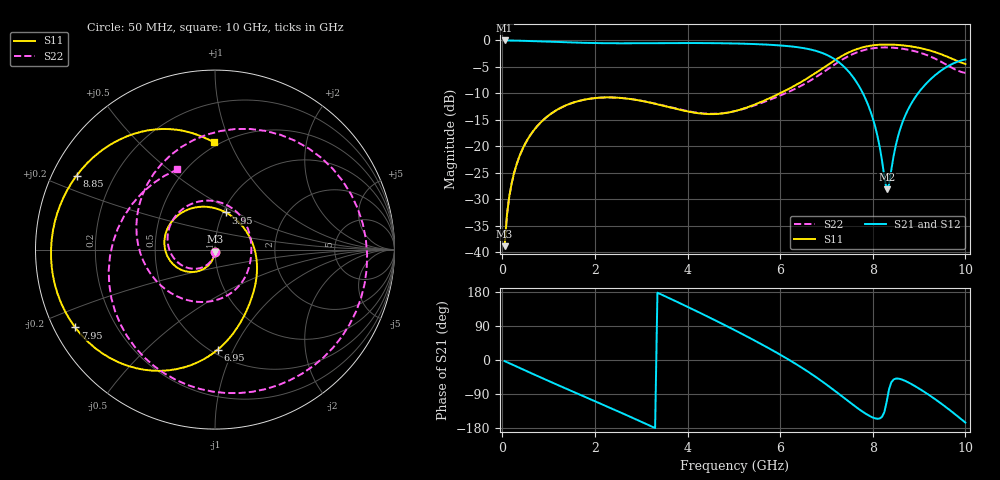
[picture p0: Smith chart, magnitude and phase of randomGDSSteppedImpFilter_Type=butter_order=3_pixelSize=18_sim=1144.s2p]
! freq	dB(S11)	phase(S11)	dB(S12)	phase(S12)
!  dB(S21)	phase(S21)	dB(S22)	phase(S22)
!S-par simulation data
#  GHz  S  DB  R 50
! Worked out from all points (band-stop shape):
!   200 points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, 50 MHz to 10 GHz, reference 50 ohm
!   highest |S21| = -0.01 dB at 50 MHz (marker M1); lowest = -28.2 dB at 8.3 GHz (marker M2)
!   |S21| within 3 dB of the highest: start of sweep to 7.069 GHz
!   lowest |S11| = -38.9 dB at 50 MHz (marker M3), VSWR 1.02, Z = 50 - j1.14 ohm
!   |S11| at or under -10 dB: start of sweep to 5.995 GHz
!   |S22| runs from -38.9 to -1.3 dB; largest |S21 - S12| = 0
!   S11 on the Smith chart (normalised r, x): 50 MHz: 1.00, -0.02; 3.95 GHz: 1.03, +0.45; 6.95 GHz: 0.54, -0.87; 7.95 GHz: 0.06, -0.26; 8.85 GHz: 0.07, +0.25; 10 GHz: 0.47, +0.88
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0.05  -38.88 -91.0  -0.01 -2.8  -0.01 -2.8  -38.89 -91.7
0.2  -27.11 -100.3  -0.03 -11.2  -0.03 -11.2  -27.11 -102.3
0.5  -19.44 -115.9  -0.09 -27.9  -0.09 -27.9  -19.45 -120.9
1.15  -13.28 -148.2  -0.29 -63.4  -0.29 -63.4  -13.29 -159.9
1.75  -11.24 -176.9  -0.45 -95.5  -0.45 -95.5  -11.25 164.6
2.65  -10.95 140.7  -0.54 -143.7  -0.54 -143.7  -10.95 110.8
3.4  -12.18 103.7  -0.51 174.8  -0.51 174.8  -12.15 65.1
3.95  -13.33 73.7  -0.49 143.2  -0.49 143.2  -13.27 32.4
4.55  -13.93 36.7  -0.52 107.6  -0.52 107.6  -13.87 -1.3
5.05  -13.30 4.5  -0.58 76.8  -0.58 76.8  -13.32 -30.2
5.95  -10.19 -44.9  -0.92 17.6  -0.92 17.6  -10.61 -99.2
6.7  -6.53 -76.9  -1.81 -38.9  -1.81 -38.9  -7.34 176.2
6.95  -5.07 -88.5  -2.52 -60.3  -2.52 -60.3  -5.90 142.8
7.45  -2.40 -117.2  -5.60 -106.7  -5.60 -106.7  -3.10 73.7
7.95  -1.00 -150.9  -13.39 -148.9  -13.39 -148.9  -1.56 9.9
8.3  -0.77 -173.9  -28.18 -110.5  -28.18 -110.5  -1.33 -29.1
8.35  -0.78 -177.1  -27.28 -77.7  -27.28 -77.7  -1.34 -34.4
8.55  -0.86 170.3  -17.98 -49.1  -17.98 -49.1  -1.47 -55.0
8.85  -1.16 151.9  -11.67 -64.6  -11.67 -64.6  -1.92 -85.6
9.15  -1.70 133.8  -8.20 -87.0  -8.20 -87.0  -2.71 -117.8
9.5  -2.70 113.6  -5.55 -117.0  -5.55 -117.0  -4.15 -161.8
10  -4.46 90.3  -3.59 -165.2  -3.59 -165.2  -6.14 115.1
